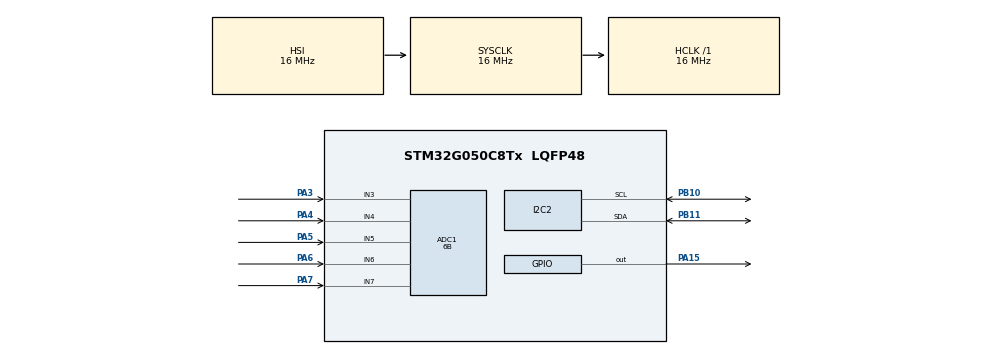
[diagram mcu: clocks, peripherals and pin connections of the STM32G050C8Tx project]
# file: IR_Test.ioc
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ADC1.Channel-10\#ChannelRegularConversion=ADC_CHANNEL_7
ADC1.Channel-6\#ChannelRegularConversion=ADC_CHANNEL_3
ADC1.Channel-7\#ChannelRegularConversion=ADC_CHANNEL_4
ADC1.Channel-8\#ChannelRegularConversion=ADC_CHANNEL_5
ADC1.Channel-9\#ChannelRegularConversion=ADC_CHANNEL_6
ADC1.NbrOfConversion=5
ADC1.NbrOfConversionFlag=1
ADC1.Rank-10\#ChannelRegularConversion=5
ADC1.Rank-6\#ChannelRegularConversion=1
ADC1.Rank-7\#ChannelRegularConversion=2
ADC1.Rank-8\#ChannelRegularConversion=3
ADC1.Rank-9\#ChannelRegularConversion=4
ADC1.Resolution=ADC_RESOLUTION_6B
ADC1.SamplingTime-10\#ChannelRegularConversion=ADC_SAMPLINGTIME_COMMON_1
ADC1.SamplingTime-6\#ChannelRegularConversion=ADC_SAMPLINGTIME_COMMON_1
ADC1.SamplingTime-7\#ChannelRegularConversion=ADC_SAMPLINGTIME_COMMON_1
ADC1.SamplingTime-8\#ChannelRegularConversion=ADC_SAMPLINGTIME_COMMON_1
ADC1.SamplingTime-9\#ChannelRegularConversion=ADC_SAMPLINGTIME_COMMON_1
ADC1.SelectedChannel=ADC_CHANNEL_3|ADC_CHANNEL_4|ADC_CHANNEL_5|ADC_CHANNEL_6|ADC_CHANNEL_7
ADC1.master=1
I2C2.GeneralCallMode=I2C_GENERALCALL_DISABLE
I2C2.OwnAddress=0x40
Mcu.Family=STM32G0
Mcu.Name=STM32G050C8Tx
Mcu.Package=LQFP48
NVIC.I2C2_IRQn=true\:0\:0\:false\:false\:true\:true\:true\:true
PA0.Signal=ADC1_IN0
PA13.Mode=Serial_Wire
PA13.Signal=SYS_SWDIO
PA14-BOOT0.Mode=Serial_Wire
PA14-BOOT0.Signal=SYS_SWCLK
PA15.Signal=GPIO_Output
PA3.Mode=IN3
PA3.Signal=ADC1_IN3
PA4.Mode=IN4
PA4.Signal=ADC1_IN4
PA5.Mode=IN5
PA5.Signal=ADC1_IN5
PA6.Mode=IN6
PA6.Signal=ADC1_IN6
PA7.Mode=IN7
PA7.Signal=ADC1_IN7
PB10.Mode=I2C
PB10.Signal=I2C2_SCL
PB11.Mode=I2C
PB11.Signal=I2C2_SDA
ProjectManager.HeapSize=0x200
ProjectManager.StackSize=0x400
ProjectManager.TargetToolchain=STM32CubeIDE
RCC.AHBFreq_Value=16000000
RCC.CortexFreq_Value=16000000
RCC.EXTERNAL_CLOCK_VALUE=48000
RCC.HCLKFreq_Value=16000000
RCC.HSE_VALUE=8000000
RCC.HSI_VALUE=16000000
RCC.LSE_VALUE=32768
RCC.SYSCLKFreq_VALUE=16000000
RCC.VCOOutputFreq_Value=128000000
VP_SYS_VS_DBSignals.Mode=DisableDeadBatterySignals
board=custom

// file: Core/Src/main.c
/* USER CODE BEGIN Header */
/**
  ******************************************************************************
  * @file           : main.c
  * @brief          : Main program body
  ******************************************************************************
  * @attention
  *
  * Copyright (c) 2022 STMicroelectronics.
  * All rights reserved.
  *
  * This software is licensed under terms that can be found in the LICENSE file
  * in the root directory of this software component.
  * If no LICENSE file comes with this software, it is provided AS-IS.
  *
  ******************************************************************************
  */
/* USER CODE END Header */
#include "main.h"

/* USER CODE BEGIN PD */
#define THRESHOLD 15 // TODO - TBD, CAN ONLY FIGURE OUT BY TESTING
#define I2C_SLAVE_ADDR				0b10000000

#define NUM_SENSORS					5

/* USER CODE END PD */

 ADC_HandleTypeDef hadc1;

I2C_HandleTypeDef hi2c2;

/* USER CODE BEGIN PV */

uint32_t channels[NUM_SENSORS] = {ADC_CHANNEL_3, ADC_CHANNEL_4, ADC_CHANNEL_5, ADC_CHANNEL_6, ADC_CHANNEL_7};
uint32_t ranks[NUM_SENSORS] = {ADC_REGULAR_RANK_1, ADC_REGULAR_RANK_2, ADC_REGULAR_RANK_3, ADC_REGULAR_RANK_4, ADC_REGULAR_RANK_5};
uint16_t values[NUM_SENSORS];
uint8_t turn_count = 0;

/* USER CODE END PV */

void SystemClock_Config(void);
static void MX_GPIO_Init(void);
static void MX_ADC1_Init(void);
static void MX_I2C2_Init(void);
/* USER CODE BEGIN PFP */
ADC_ChannelConfTypeDef sConfig;

/* USER CODE END PFP */

/* USER CODE BEGIN 0 */

void ADC_Channel_Config()
{
	sConfig.Channel = ADC_CHANNEL_3;
	sConfig.Rank = 1;
	sConfig.SamplingTime = ADC_SAMPLETIME_1CYCLE_5;

	if(HAL_ADC_ConfigChannel(&hadc1, &sConfig) != HAL_OK)
	{
		Error_Handler();
	}
}

void Read_Sensors()
{
	for(int i = 0; i < NUM_SENSORS; ++i)
	{
		//HAL_Delay(100);
		sConfig.Channel = channels[i];
		//sConfig.Rank = ranks[i];
		if(HAL_ADC_ConfigChannel(&hadc1, &sConfig) != HAL_OK)
		{
			Error_Handler();
		}

		HAL_ADC_Start(&hadc1);
		if(HAL_ADC_PollForConversion(&hadc1, HAL_MAX_DELAY) == HAL_OK)
		{
			values[i] = HAL_ADC_GetValue(&hadc1);
		}
		HAL_ADC_Stop(&hadc1);
//		HAL_Delay(100);
	}
	/*
	 *
	 * void read_values_sensor(uint16_t* values, uint8_t channel) {
	 *
		ADC_ChannelConfTypeDef sConfig = {0};
	sConfig.Channel = in_channel;

	sConfig.Rank = ADC_REGULAR_RANK_1;
	sConfig.SamplingTime = ADC_SAMPLINGTIME_COMMON_1;
	if (HAL_ADC_ConfigChannel(&hadc1, &sConfig) != HAL_OK)
	{
	Error_Handler();
	}

	HAL_ADC_Start(&hadc1);
	HAL_ADC_PollForConversion(&hadc1, HAL_MAX_DELAY);
	*(values + channel) = HAL_ADC_GetValue(&hadc1);
	HAL_ADC_Stop(&hadc1);
	HAL_Delay(100);
}
	 */
}

uint8_t Determine_Turns()
{
	Read_Sensors();

	uint8_t turn = 10;

	for(int i = 0; i < NUM_SENSORS; ++i)
	{
		// going through each sensor.
		// turn = 0 is bottom is all is covered
		// values go lower if they are blocked.
		// Assume that all are blocked.
		if(values[i] > THRESHOLD && turn > 5)
		{
			turn = i;
		}
	}

	return turn;
}

/*
void ADC_Select_CH(uint32_t sensor)
{
	uint32_t in_channel;
	switch(sensor)
	{
	case 0:
		in_channel = ADC_CHANNEL_3;
		break;
	case 1:
		in_channel = ADC_CHANNEL_4;
		break;
	case 2:
		in_channel = ADC_CHANNEL_5;
		break;
	case 3:
		in_channel = ADC_CHANNEL_6;
		break;
	case 4:
		in_channel = ADC_CHANNEL_7;
		break;
	}

	ADC_ChannelConfTypeDef sConfig = {0};
	sConfig.Channel = in_channel;

	sConfig.Rank = ADC_REGULAR_RANK_1;
	sConfig.SamplingTime = ADC_SAMPLINGTIME_COMMON_1;
	if (HAL_ADC_ConfigChannel(&hadc1, &sConfig) != HAL_OK)
	{
	Error_Handler();
	}
}

void read_values_sensor(uint16_t* values, uint8_t channel) {
	ADC_Select_CH(channel + 3);
	HAL_ADC_Start(&hadc1);
	HAL_ADC_PollForConversion(&hadc1, HAL_MAX_DELAY);
	*(values + channel) = HAL_ADC_GetValue(&hadc1);
	HAL_ADC_Stop(&hadc1);
	HAL_Delay(100);
}

uint8_t sensor_blocked(uint16_t* values, uint8_t channel, uint32_t threshold) {
	// if it is blocked, ADC value is very low
	// (if more light is reflected, lower the value)
	return *(values + channel) < threshold;
}

uint8_t calculate_turn_count(uint16_t* values, uint32_t threshold) {
	// When wrist has not been turned, assume all sensors except sensor 0 is blocked
	// Call this turn count = 0

	// As soon as wrist turns once, sensor 0 and 1 should be blocked.
	// This is turn count = 1

	// Turn count = 2 means sensors 0-2 are blocked.

	// Can count up to turn count = 4.

	for (int8_t i = 4; i >= 0; --i) {
		if (sensor_blocked(values, i, threshold)) {
			return i;
		}
	}
	return 10; // If all sensors are not blocked, then something is seriously wrong.
}

void refresh_turn_count() {
	for(uint8_t i = 0; i < 5; ++i)
	{
	  read_values_sensor(values, i);
	}
	turn_count = calculate_turn_count(values, THRESHOLD);
}
*/

/* USER CODE END 0 */

int main(void)
{

  /* MCU Configuration--------------------------------------------------------*/

  /* Reset of all peripherals, Initializes the Flash interface and the Systick. */
  HAL_Init();

  /* Configure the system clock */
  SystemClock_Config();

  /* Initialize all configured peripherals */
  MX_GPIO_Init();
  MX_ADC1_Init();
  MX_I2C2_Init();
  /* USER CODE BEGIN 2 */
  //ADC_Channel_Config();
  /* USER CODE END 2 */

  /* Infinite loop */
  /* USER CODE BEGIN WHILE */
  while (1)
  {
	  turn_count = Determine_Turns();

	  HAL_I2C_Slave_Transmit(&hi2c2, &turn_count, 1, 100);

    /* USER CODE END WHILE */

  }
}

void SystemClock_Config(void)
{
  RCC_OscInitTypeDef RCC_OscInitStruct = {0};
  RCC_ClkInitTypeDef RCC_ClkInitStruct = {0};

  /** Configure the main internal regulator output voltage
  */
  HAL_PWREx_ControlVoltageScaling(PWR_REGULATOR_VOLTAGE_SCALE1);

  /** Initializes the RCC Oscillators according to the specified parameters
  * in the RCC_OscInitTypeDef structure.
  */
  RCC_OscInitStruct.OscillatorType = RCC_OSCILLATORTYPE_HSI;
  RCC_OscInitStruct.HSIState = RCC_HSI_ON;
  RCC_OscInitStruct.HSIDiv = RCC_HSI_DIV1;
  RCC_OscInitStruct.HSICalibrationValue = RCC_HSICALIBRATION_DEFAULT;
  RCC_OscInitStruct.PLL.PLLState = RCC_PLL_NONE;
  if (HAL_RCC_OscConfig(&RCC_OscInitStruct) != HAL_OK)
  {
    Error_Handler();
  }

  /** Initializes the CPU, AHB and APB buses clocks
  */
  RCC_ClkInitStruct.ClockType = RCC_CLOCKTYPE_HCLK|RCC_CLOCKTYPE_SYSCLK
                              |RCC_CLOCKTYPE_PCLK1;
  RCC_ClkInitStruct.SYSCLKSource = RCC_SYSCLKSOURCE_HSI;
  RCC_ClkInitStruct.AHBCLKDivider = RCC_SYSCLK_DIV1;
  RCC_ClkInitStruct.APB1CLKDivider = RCC_HCLK_DIV1;

  if (HAL_RCC_ClockConfig(&RCC_ClkInitStruct, FLASH_LATENCY_0) != HAL_OK)
  {
    Error_Handler();
  }
}

static void MX_ADC1_Init(void)
{

  ADC_ChannelConfTypeDef sConfig = {0};

  /** Configure the global features of the ADC (Clock, Resolution, Data Alignment and number of conversion)
  */
  hadc1.Instance = ADC1;
  hadc1.Init.ClockPrescaler = ADC_CLOCK_SYNC_PCLK_DIV2;
  hadc1.Init.Resolution = ADC_RESOLUTION_6B;
  hadc1.Init.DataAlign = ADC_DATAALIGN_RIGHT;
  hadc1.Init.ScanConvMode = ADC_SCAN_ENABLE;
  hadc1.Init.EOCSelection = ADC_EOC_SINGLE_CONV;
  hadc1.Init.LowPowerAutoWait = DISABLE;
  hadc1.Init.LowPowerAutoPowerOff = DISABLE;
  hadc1.Init.ContinuousConvMode = DISABLE;
  hadc1.Init.NbrOfConversion = 5;
  //hadc1.Init.DiscontinuousConvMode = ENABLE;
  hadc1.Init.ExternalTrigConv = ADC_SOFTWARE_START;
  hadc1.Init.ExternalTrigConvEdge = ADC_EXTERNALTRIGCONVEDGE_NONE;
  hadc1.Init.DMAContinuousRequests = DISABLE;
  hadc1.Init.Overrun = ADC_OVR_DATA_PRESERVED;
  hadc1.Init.SamplingTimeCommon1 = ADC_SAMPLETIME_1CYCLE_5;
  hadc1.Init.SamplingTimeCommon2 = ADC_SAMPLETIME_1CYCLE_5;
  hadc1.Init.OversamplingMode = DISABLE;
  hadc1.Init.TriggerFrequencyMode = ADC_TRIGGER_FREQ_HIGH;
  if (HAL_ADC_Init(&hadc1) != HAL_OK)
  {
    Error_Handler();
  }

}

static void MX_I2C2_Init(void)
{

  hi2c2.Instance = I2C2;
  hi2c2.Init.Timing = 0x00303D5B;
  hi2c2.Init.OwnAddress1 = 128;
  hi2c2.Init.AddressingMode = I2C_ADDRESSINGMODE_7BIT;
  hi2c2.Init.DualAddressMode = I2C_DUALADDRESS_DISABLE;
  hi2c2.Init.OwnAddress2 = 0;
  hi2c2.Init.OwnAddress2Masks = I2C_OA2_NOMASK;
  hi2c2.Init.GeneralCallMode = I2C_GENERALCALL_DISABLE;
  hi2c2.Init.NoStretchMode = I2C_NOSTRETCH_DISABLE;
  if (HAL_I2C_Init(&hi2c2) != HAL_OK)
  {
    Error_Handler();
  }

  /** Configure Analogue filter
  */
  if (HAL_I2CEx_ConfigAnalogFilter(&hi2c2, I2C_ANALOGFILTER_ENABLE) != HAL_OK)
  {
    Error_Handler();
  }

  /** Configure Digital filter
  */
  if (HAL_I2CEx_ConfigDigitalFilter(&hi2c2, 0) != HAL_OK)
  {
    Error_Handler();
  }

}

static void MX_GPIO_Init(void)
{
  GPIO_InitTypeDef GPIO_InitStruct = {0};

  /* GPIO Ports Clock Enable */
  __HAL_RCC_GPIOA_CLK_ENABLE();
  __HAL_RCC_GPIOB_CLK_ENABLE();

  /*Configure GPIO pin Output Level */
  HAL_GPIO_WritePin(GPIOA, GPIO_PIN_15, GPIO_PIN_RESET);

  /*Configure GPIO pin : PA15 */
  GPIO_InitStruct.Pin = GPIO_PIN_15;
  GPIO_InitStruct.Mode = GPIO_MODE_OUTPUT_PP;
  GPIO_InitStruct.Pull = GPIO_NOPULL;
  GPIO_InitStruct.Speed = GPIO_SPEED_FREQ_LOW;
  HAL_GPIO_Init(GPIOA, &GPIO_InitStruct);

}

void Error_Handler(void)
{
  __disable_irq();
  while (1)
  {
  }
}
